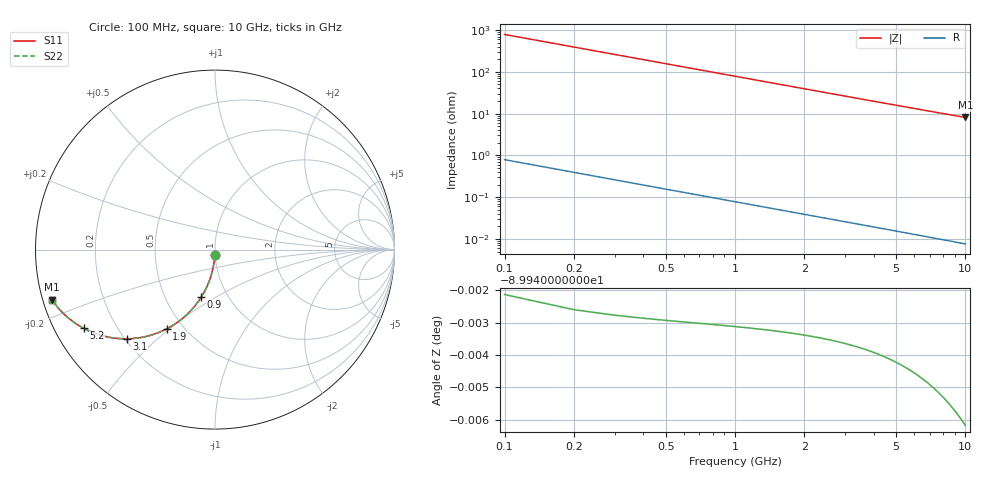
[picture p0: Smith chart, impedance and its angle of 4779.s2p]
# Hz S RI R 50.00
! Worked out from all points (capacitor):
!   100 points, 100 MHz to 10 GHz, reference 50 ohm
!   read as one part in shunt: C = 2.03 pF near 100 MHz
!   lowest |Z| = 8.1 ohm at 10 GHz (marker M1)
!   S11 on the Smith chart (normalised r, x): 100 MHz: 1.00, -0.06; 900 MHz: 0.75, -0.43; 1.9 GHz: 0.41, -0.49; 3.1 GHz: 0.21, -0.40; 5.2 GHz: 0.09, -0.28; 10 GHz: 0.03, -0.15
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1e8  -0.00103 -0.0318  0.9989 -0.032  0.9989 -0.032  -0.00103 -0.0318
2e8  -0.0041 -0.0634  0.9959 -0.0637  0.9959 -0.0637  -0.0041 -0.0634
3e8  -0.00915 -0.0946  0.9908 -0.0951  0.9908 -0.0951  -0.00915 -0.0946
4e8  -0.0161 -0.1252  0.9838 -0.1258  0.9838 -0.1258  -0.0161 -0.1252
5e8  -0.0249 -0.1551  0.975 -0.1559  0.975 -0.1559  -0.0249 -0.1551
6e8  -0.0355 -0.1841  0.9645 -0.185  0.9645 -0.185  -0.0355 -0.1841
7e8  -0.0476 -0.212  0.9523 -0.2131  0.9523 -0.2131  -0.0476 -0.212
9e8  -0.0763 -0.2643  0.9237 -0.2657  0.9237 -0.2657  -0.0763 -0.2643
1.1e9  -0.1097 -0.3112  0.8903 -0.3129  0.8903 -0.3129  -0.1097 -0.3112
1.3e9  -0.1467 -0.3523  0.8533 -0.3543  0.8533 -0.3543  -0.1467 -0.3523
1.5e9  -0.1861 -0.3875  0.8139 -0.3899  0.8139 -0.3899  -0.1861 -0.3875
1.8e9  -0.2475 -0.4296  0.7525 -0.4325  0.7525 -0.4325  -0.2475 -0.4296
1.9e9  -0.2681 -0.441  0.7319 -0.444  0.7319 -0.444  -0.2681 -0.441
2.5e9  -0.3874 -0.4847  0.6125 -0.4886  0.6125 -0.4886  -0.3874 -0.4847
3.1e9  -0.4925 -0.497  0.5075 -0.5019  0.5075 -0.5019  -0.4925 -0.497
3.4e9  -0.5383 -0.4953  0.4616 -0.5007  0.4616 -0.5007  -0.5383 -0.4953
4.2e9  -0.6396 -0.4762  0.3603 -0.483  0.3603 -0.483  -0.6396 -0.4762
5.1e9  -0.723 -0.4429  0.2769 -0.4511  0.2769 -0.4511  -0.723 -0.4429
5.2e9  -0.7307 -0.4389  0.2692 -0.4473  0.2692 -0.4473  -0.7307 -0.4389
6.7e9  -0.8179 -0.3799  0.182 -0.3908  0.182 -0.3908  -0.8179 -0.3799
8.4e9  -0.8758 -0.3223  0.124 -0.3361  0.124 -0.3361  -0.8758 -0.3223
1e10  -0.9091 -0.2786  0.0907 -0.2951  0.0907 -0.2951  -0.9091 -0.2786
